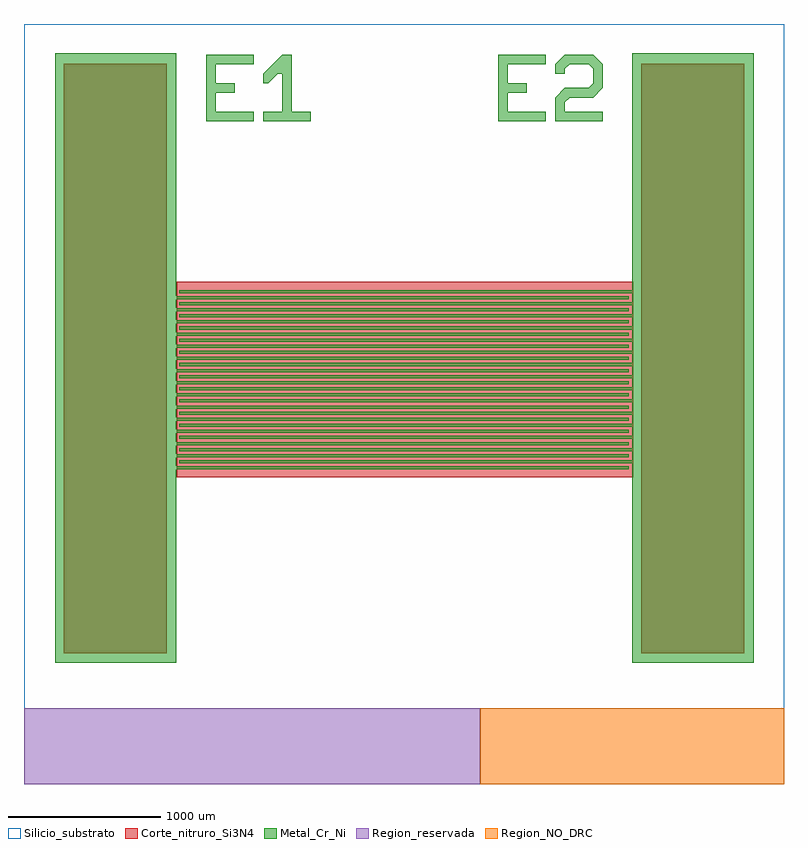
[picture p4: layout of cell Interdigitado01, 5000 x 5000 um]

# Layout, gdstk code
import gdstk
lib = gdstk.Library(unit=1e-6, precision=1e-06)
def R(c, l, rs):  # rectangles x0, y0, x1, y1
    for r in rs: c.add(gdstk.rectangle(r[:2], r[2:], *l))
def P(c, l, *ps):  # polygons
    for p in ps: c.add(gdstk.Polygon(p, *l))
Silicio_substrato = (1, 1)
Region_reservada = (1, 2)
Region_NO_DRC = (1, 3)
Metal_Cr_Ni = (2, 0)
Corte_nitruro_Si3N4 = (3, 0)

chip_plantilla5x5mm_1 = lib.new_cell('Chip_Plantilla5x5mm$1')
R(chip_plantilla5x5mm_1, Silicio_substrato, [(0,0,5000,5000)])
R(chip_plantilla5x5mm_1, Region_reservada, [(0,0,3000,500)])
R(chip_plantilla5x5mm_1, Region_NO_DRC, [(3000,0,5000,500)])

text_12 = lib.new_cell('TEXT$12')
P(text_12, Metal_Cr_Ni, [(0,0),(0,438),(313,438),(313,375),(63,375),(63,250),(188,250),(188,188),(63,188),(63,63),(313,63),(313,0)],
  [(375,0),(375,63),(500,63),(500,313),(469,313),(406,250),(375,250),(375,313),(500,438),(563,438),(563,63),(688,63),(688,0)])

text_13 = lib.new_cell('TEXT$13')
P(text_13, Metal_Cr_Ni, [(0,0),(0,438),(313,438),(313,375),(63,375),(63,250),(188,250),(188,188),(63,188),(63,63),(313,63),(313,0)],
  [(375,0),(375,156),(438,219),(594,219),(625,250),(625,344),(594,375),(469,375),(438,344),(438,313),(375,313),(375,375),(438,438),(625,438),(688,375),(688,219),(625,156),(469,156),(438,125),(438,63),(688,63),(688,0)])

interdigitado01 = lib.new_cell('Interdigitado01')
P(interdigitado01, Metal_Cr_Ni, [(205,798),(205,4808),(1000,4808),(1000,3210),(3980,3210),(3980,3190),(1000,3190),(1000,3130),(3980,3130),(3980,3110),(1000,3110),(1000,3050),(3980,3050),(3980,3030),(1000,3030),(1000,2970),(3980,2970),(3980,2950),(1000,2950),(1000,2890),(3980,2890),(3980,2870),(1000,2870),(1000,2810),(3980,2810),(3980,2790),(1000,2790),(1000,2730),(3980,2730),(3980,2710),(1000,2710),(1000,2650),(3980,2650),(3980,2630),(1000,2630),(1000,2570),(3980,2570),(3980,2550),(1000,2550),(1000,2490),(3980,2490),(3980,2470),(1000,2470),(1000,2410),(3980,2410),(3980,2390),(1000,2390),(1000,2330),(3980,2330),(3980,2310),(1000,2310),(1000,2250),(3980,2250),(3980,2230),(1000,2230),(1000,2170),(3980,2170),(3980,2150),(1000,2150),(1000,2090),(3980,2090),(3980,2070),(1000,2070),(1000,798)],
  [(4000,798),(4000,2110),(1020,2110),(1020,2130),(4000,2130),(4000,2190),(1020,2190),(1020,2210),(4000,2210),(4000,2270),(1020,2270),(1020,2290),(4000,2290),(4000,2350),(1020,2350),(1020,2370),(4000,2370),(4000,2430),(1020,2430),(1020,2450),(4000,2450),(4000,2510),(1020,2510),(1020,2530),(4000,2530),(4000,2590),(1020,2590),(1020,2610),(4000,2610),(4000,2670),(1020,2670),(1020,2690),(4000,2690),(4000,2750),(1020,2750),(1020,2770),(4000,2770),(4000,2830),(1020,2830),(1020,2850),(4000,2850),(4000,2910),(1020,2910),(1020,2930),(4000,2930),(4000,2990),(1020,2990),(1020,3010),(4000,3010),(4000,3070),(1020,3070),(1020,3090),(4000,3090),(4000,3150),(1020,3150),(1020,3170),(4000,3170),(4000,3230),(1020,3230),(1020,3250),(4000,3250),(4000,4808),(4801,4808),(4801,798)])
R(interdigitado01, Corte_nitruro_Si3N4, [(260,860,940,4740), (4060,860,4740,4740), (1005,2019,4008,3303)])
interdigitado01.add(gdstk.Reference(chip_plantilla5x5mm_1, (0,0)))
interdigitado01.add(gdstk.Reference(text_12, (1200,4360)))
interdigitado01.add(gdstk.Reference(text_13, (3120,4360)))

lib.write_gds('Interdigitado01.gds')
